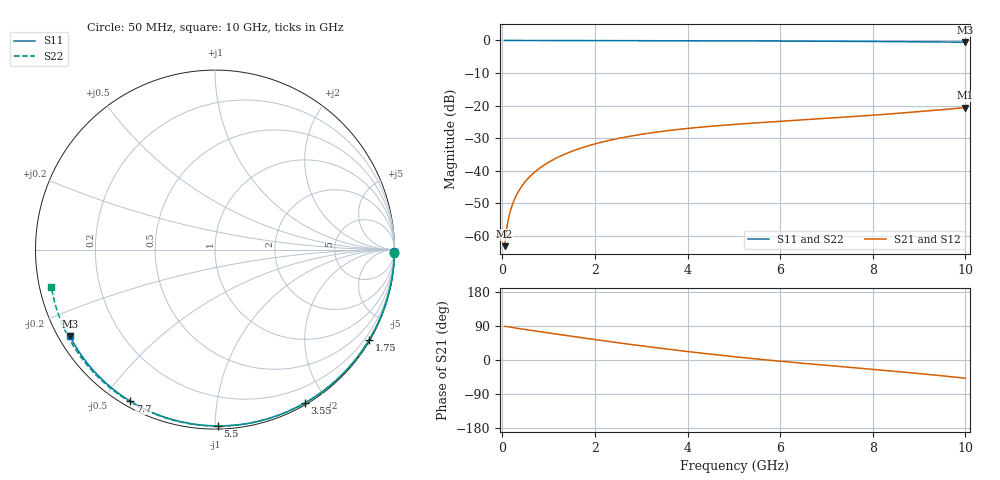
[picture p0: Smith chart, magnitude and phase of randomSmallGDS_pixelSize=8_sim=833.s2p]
! freq	dB(S11)	phase(S11)	dB(S12)	phase(S12)
!  dB(S21)	phase(S21)	dB(S22)	phase(S22)
!S-par simulation data
#  GHz  S  DB  R 50
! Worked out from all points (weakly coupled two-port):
!   200 points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, 50 MHz to 10 GHz, reference 50 ohm
!   highest |S21| = -20.63 dB at 10 GHz (marker M1); lowest = -63.2 dB at 50 MHz (marker M2)
!   lowest |S11| = -0.5 dB at 10 GHz (marker M3), VSWR 32.98, Z = 1.63 - j13.7 ohm
!   |S11| at or under -10 dB: nowhere
!   |S22| runs from -0.6 to 0.0 dB; largest |S21 - S12| = 0
!   S11 on the Smith chart (normalised r, x): 50 MHz: open; 1.75 GHz: 0.03, -3.70; 3.55 GHz: 0.02, -1.74; 5.5 GHz: 0.02, -1.02; 7.7 GHz: 0.02, -0.59; 10 GHz: 0.03, -0.27
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0.05  -0.00 -0.9  -63.17 89.0  -63.17 89.0  -0.00 -1.0
0.1  -0.00 -1.8  -57.16 88.0  -57.16 88.0  -0.00 -1.9
0.15  -0.00 -2.6  -53.64 87.0  -53.64 87.0  -0.00 -2.9
0.2  -0.00 -3.5  -51.15 86.0  -51.15 86.0  -0.00 -3.9
0.25  -0.00 -4.4  -49.23 85.0  -49.23 85.0  -0.00 -4.9
0.35  -0.00 -6.2  -46.33 83.1  -46.33 83.1  -0.01 -6.8
0.5  -0.01 -8.8  -43.28 80.4  -43.28 80.4  -0.01 -9.7
0.7  -0.01 -12.3  -40.41 76.8  -40.41 76.8  -0.02 -13.5
1  -0.02 -17.5  -37.40 71.4  -37.40 71.4  -0.02 -19.2
1.35  -0.03 -23.5  -34.91 65.2  -34.91 65.2  -0.03 -25.8
1.75  -0.04 -30.3  -32.82 58.2  -32.82 58.2  -0.04 -33.3
2.6  -0.06 -44.4  -29.82 43.9  -29.82 43.9  -0.07 -48.9
3.4  -0.08 -57.3  -28.01 31.2  -28.01 31.2  -0.09 -63.0
3.55  -0.09 -59.7  -27.74 28.9  -27.74 28.9  -0.09 -65.6
4.3  -0.11 -71.3  -26.61 18.1  -26.61 18.1  -0.12 -78.3
5.05  -0.14 -82.5  -25.74 8.2  -25.74 8.2  -0.15 -90.6
5.5  -0.15 -89.0  -25.29 2.6  -25.29 2.6  -0.17 -97.7
6.7  -0.22 -105.8  -24.21 -10.9  -24.21 -10.9  -0.24 -116.3
7.7  -0.29 -119.2  -23.27 -21.5  -23.27 -21.5  -0.31 -131.4
8.35  -0.34 -127.7  -22.58 -28.5  -22.58 -28.5  -0.38 -141.2
9.2  -0.43 -138.8  -21.61 -38.2  -21.61 -38.2  -0.47 -154.3
10  -0.53 -149.3  -20.63 -48.1  -20.63 -48.1  -0.58 -167.0
